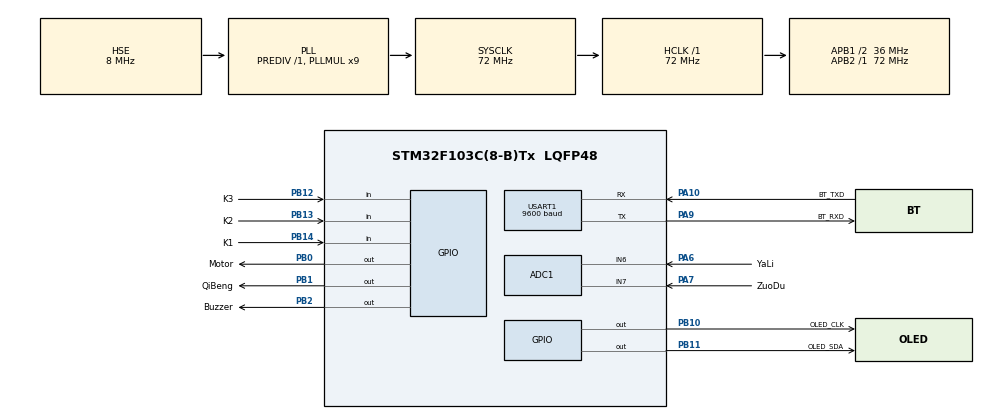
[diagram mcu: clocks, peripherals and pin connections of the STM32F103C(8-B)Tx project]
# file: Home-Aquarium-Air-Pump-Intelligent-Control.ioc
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ADC1.Channel-0\#ChannelRegularConversion=ADC_CHANNEL_6
ADC1.Channel-1\#ChannelRegularConversion=ADC_CHANNEL_7
ADC1.ContinuousConvMode=ENABLE
ADC1.NbrOfConversion=2
ADC1.NbrOfConversionFlag=1
ADC1.Rank-0\#ChannelRegularConversion=1
ADC1.Rank-1\#ChannelRegularConversion=2
ADC1.SamplingTime-0\#ChannelRegularConversion=ADC_SAMPLETIME_1CYCLE_5
ADC1.SamplingTime-1\#ChannelRegularConversion=ADC_SAMPLETIME_1CYCLE_5
ADC1.master=1
Dma.ADC1.0.Direction=DMA_PERIPH_TO_MEMORY
Dma.ADC1.0.Instance=DMA1_Channel1
Dma.ADC1.0.MemDataAlignment=DMA_MDATAALIGN_HALFWORD
Dma.ADC1.0.MemInc=DMA_MINC_ENABLE
Dma.ADC1.0.Mode=DMA_CIRCULAR
Dma.ADC1.0.PeriphDataAlignment=DMA_PDATAALIGN_HALFWORD
Dma.ADC1.0.PeriphInc=DMA_PINC_DISABLE
Dma.ADC1.0.Priority=DMA_PRIORITY_LOW
Dma.Request0=ADC1
Mcu.Family=STM32F1
Mcu.Name=STM32F103C(8-B)Tx
Mcu.Package=LQFP48
NVIC.DMA1_Channel1_IRQn=true\:0\:0\:false\:false\:true\:false\:true\:true
NVIC.PriorityGroup=NVIC_PRIORITYGROUP_4
NVIC.TIM2_IRQn=true\:0\:0\:false\:false\:true\:true\:true\:true
NVIC.TIM3_IRQn=true\:0\:0\:false\:false\:true\:true\:true\:true
PA10.GPIO_Label=BT_TXD
PA10.Mode=Asynchronous
PA10.Signal=USART1_RX
PA13.GPIO_Label=SWDIO
PA13.Mode=Serial_Wire
PA13.Signal=SYS_JTMS-SWDIO
PA14.GPIO_Label=SWCLK
PA14.Mode=Serial_Wire
PA14.Signal=SYS_JTCK-SWCLK
PA6.GPIO_Label=YaLi
PA6.Signal=ADCx_IN6
PA7.GPIO_Label=ZuoDu
PA7.Signal=ADCx_IN7
PA9.GPIO_Label=BT_RXD
PA9.Mode=Asynchronous
PA9.Signal=USART1_TX
PB0.GPIO_Label=Motor
PB0.Signal=GPIO_Output
PB1.GPIO_Label=QiBeng
PB1.Signal=GPIO_Output
PB10.GPIO_Label=OLED_CLK
PB10.Signal=GPIO_Output
PB11.GPIO_Label=OLED_SDA
PB11.Signal=GPIO_Output
PB12.GPIO_Label=K3
PB12.Signal=GPIO_Input
PB13.GPIO_Label=K2
PB13.Signal=GPIO_Input
PB14.GPIO_Label=K1
PB14.Signal=GPIO_Input
PB2.GPIO_Label=Buzzer
PB2.Signal=GPIO_Output
PC14-OSC32_IN.GPIO_Label=C32_768I
PC14-OSC32_IN.Mode=LSE-External-Oscillator
PC14-OSC32_IN.Signal=RCC_OSC32_IN
PC15-OSC32_OUT.GPIO_Label=C32_768O
PC15-OSC32_OUT.Mode=LSE-External-Oscillator
PC15-OSC32_OUT.Signal=RCC_OSC32_OUT
PD0-OSC_IN.GPIO_Label=C8I
PD0-OSC_IN.Mode=HSE-External-Oscillator
PD0-OSC_IN.Signal=RCC_OSC_IN
PD1-OSC_OUT.GPIO_Label=C8O
PD1-OSC_OUT.Mode=HSE-External-Oscillator
PD1-OSC_OUT.Signal=RCC_OSC_OUT
ProjectManager.HeapSize=0x200
ProjectManager.StackSize=0x400
ProjectManager.TargetToolchain=MDK-ARM V5.32
RCC.ADCPresc=RCC_ADCPCLK2_DIV6
RCC.AHBFreq_Value=72000000
RCC.APB1CLKDivider=RCC_HCLK_DIV2
RCC.APB1Freq_Value=36000000
RCC.APB1TimFreq_Value=72000000
RCC.APB2Freq_Value=72000000
RCC.APB2TimFreq_Value=72000000
RCC.HCLKFreq_Value=72000000
RCC.PLLMUL=RCC_PLL_MUL9
RCC.PLLSourceVirtual=RCC_PLLSOURCE_HSE
RCC.SYSCLKFreq_VALUE=72000000
RCC.SYSCLKSource=RCC_SYSCLKSOURCE_PLLCLK
RCC.USBFreq_Value=72000000
RTC.Format=RTC_FORMAT_BIN
SH.ADCx_IN6.0=ADC1_IN6,IN6
SH.ADCx_IN7.0=ADC1_IN7,IN7
TIM2.Period=1000-1
TIM2.Prescaler=72-1
TIM3.AutoReloadPreload=TIM_AUTORELOAD_PRELOAD_ENABLE
TIM3.Period=1000
TIM3.Prescaler=71
USART1.BaudRate=9600
USART1.VirtualMode=VM_ASYNC
VP_RTC_VS_RTC_Activate.Mode=RTC_Enabled
VP_TIM2_VS_ClockSourceINT.Mode=Internal
VP_TIM3_VS_ClockSourceINT.Mode=Internal
board=custom

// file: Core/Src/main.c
/* USER CODE BEGIN Header */
/**
  ******************************************************************************
  * @file           : main.c
  * @brief          : Main program body
  ******************************************************************************
  * @attention
  *
  * Copyright (c) 2026 STMicroelectronics.
  * All rights reserved.
  *
  * This software is licensed under terms that can be found in the LICENSE file
  * in the root directory of this software component.
  * If no LICENSE file comes with this software, it is provided AS-IS.
  *
  ******************************************************************************
  */
/* USER CODE END Header */
#include "main.h"
#include "adc.h"
#include "dma.h"
#include "rtc.h"
#include "tim.h"
#include "usart.h"
#include "gpio.h"

/* USER CODE BEGIN Includes */
#include "OLED.h"
#include "Key.h"
#include <stdarg.h>
#include <stdio.h>
#include <string.h>
/* USER CODE END Includes */

/* USER CODE BEGIN PTD */
typedef enum{
  AirPump_Low = 0,
  AirPump_Med,
  AirPump_High,
}AirPumpLevel;
typedef enum{
  UI_Main = 0,
  UI_ADC,
  UI_Level,
  UI_RTC,
  UI_Tiemr_Motor,
  UI_Tiemr_AirPump
}UIIndex_;
/* USER CODE END PTD */

/* USER CODE BEGIN PD */
#define RUN_MODE 1  // 1 debug 0 normal
#define TIMER_AIR_PUMP_CHANNEL_MAX 3
#define UI_INDEX_MAX (UI_Tiemr_AirPump + TIMER_AIR_PUMP_CHANNEL_MAX)
#define ADC_MAX_NUM 2*3

#define BT_COMUNITCATION_AIR_PUMP_WORK_STATUE_SIGN 0x01
#define BT_COMUNITCATION_AIR_PUMP_ERROR_CODE_SIGN 0x02
/* USER CODE END PD */

/* USER CODE BEGIN PV */
RTC_TimeTypeDef nTime;

uint16_t ADC_Value[ADC_MAX_NUM] = {0};

uint32_t Timer2CounterTick = 0;

uint32_t TimerMotorTick_s_End = 0;
uint32_t TimerMotorTick_s = 0;
uint32_t TimerMotorTick_s_Run = 0;

uint32_t TimerAirPumpTick_s_End[TIMER_AIR_PUMP_CHANNEL_MAX] = {0};
uint32_t TimerAirPumpTick_s[TIMER_AIR_PUMP_CHANNEL_MAX] = {0};
uint32_t TimerAirPumpTick_s_Run[TIMER_AIR_PUMP_CHANNEL_MAX] = {0};

char PrintfString[2][128];
uint32_t Timer2Tick = 0;
uint32_t Timer2Tick_F = 0;

uint32_t Timer2TickAuto[TIMER_AIR_PUMP_CHANNEL_MAX] = {0};
uint32_t Timer2TickAuto_F[TIMER_AIR_PUMP_CHANNEL_MAX] = {0};

uint32_t Timer3Tick = 0;
uint16_t UILevelCloseTick = 0;
AirPumpLevel apl = AirPump_Low;
uint8_t UiIndex = UI_Main;
uint8_t MenuLevel = 0;
uint8_t TimerMotor[3] = { 0 };
uint8_t TimerAirPump[TIMER_AIR_PUMP_CHANNEL_MAX][4] = { 0 };
uint8_t TimerMotorIndex = 0;
uint8_t TimerAirPumpIndex = 0;
uint8_t TimerAirPumpAutoRun[TIMER_AIR_PUMP_CHANNEL_MAX] = { 0 };
uint8_t TimerAirPumpAutoRunTask[TIMER_AIR_PUMP_CHANNEL_MAX] = { 0 };
uint8_t TimerAirPumpManuallyFlag = 0;
uint8_t TimerAirPumpChannel = 0;

uint16_t ZuoDuAdcValue = 0;
float ZuoDuValue = 0.0;

uint8_t AirPumpErrorCode = 0;
/* USER CODE END PV */

void SystemClock_Config(void);
/* USER CODE BEGIN PFP */
void PrintfGunDong(char *format, ...);
char* GetAirPumpLevelStr(void);
/* USER CODE END PFP */

int main(void)
{

  /* MCU Configuration--------------------------------------------------------*/

  /* Reset of all peripherals, Initializes the Flash interface and the Systick. */
  HAL_Init();

  /* Configure the system clock */
  SystemClock_Config();

  /* Initialize all configured peripherals */
  MX_GPIO_Init();
  MX_DMA_Init();
  MX_ADC1_Init();
  MX_USART1_UART_Init();
  MX_TIM3_Init();
  MX_TIM2_Init();
  MX_RTC_Init();
  /* USER CODE BEGIN 2 */

  HAL_RTC_GetTime(&hrtc, &nTime, RTC_FORMAT_BIN);
  PrintfGunDong("Get RTC!");
  HAL_Delay(500);
  OLED_Init();
  PrintfGunDong("Display ok!");
  HAL_Delay(500);
  HAL_GPIO_WritePin(Buzzer_GPIO_Port, Buzzer_Pin, GPIO_PIN_SET);
  PrintfGunDong("Buzzer close!");
  HAL_Delay(500);
  HAL_GPIO_WritePin(Motor_GPIO_Port, Motor_Pin, GPIO_PIN_SET);
  PrintfGunDong("Motor close!");
  HAL_Delay(500);
  HAL_GPIO_WritePin(QiBeng_GPIO_Port, QiBeng_Pin, GPIO_PIN_SET);
  PrintfGunDong("QiBeng close!");
  HAL_Delay(500);
  HAL_TIM_Base_Start_IT(&htim2);
  PrintfGunDong("Star TIM2!");
  HAL_Delay(500);
  HAL_TIM_Base_Start_IT(&htim3);
  PrintfGunDong("Star TIM3!");
  HAL_Delay(500);
  HAL_ADC_Start_DMA(&hadc1, (uint32_t*)ADC_Value, ADC_MAX_NUM);

  if(apl == AirPump_Low) Timer2Tick_F = 500 * 14;
  if(apl == AirPump_Med) Timer2Tick_F = 500 * 56;
  if(apl == AirPump_High) Timer2Tick_F = 500 * 112;
  /* USER CODE END 2 */

  /* Infinite loop */
  /* USER CODE BEGIN WHILE */
  while (1)
  {
    OLED_Clear();
    if(Timer2CounterTick >= 1000){
      TimerMotorTick_s++;
      for(uint8_t i = 0;i < TIMER_AIR_PUMP_CHANNEL_MAX;i++) TimerAirPumpTick_s[i]++;
      Timer2CounterTick = 0;
    }
    HAL_RTC_GetTime(&hrtc, &nTime, RTC_FORMAT_BIN);
    ZuoDuAdcValue = 4096 - (ADC_Value[1] + ADC_Value[3] + ADC_Value[5]) / 3;
    if(Timer3Tick >= 150){
      Timer3Tick = 0;
      if(HAL_GPIO_ReadPin(K1_GPIO_Port, K1_Pin) == GPIO_PIN_SET){
        if(UiIndex == UI_Tiemr_Motor && MenuLevel == 1){
          TimerMotorIndex++;
          TimerMotorIndex %= 3;
        }
        if(UiIndex >= UI_INDEX_MAX - TIMER_AIR_PUMP_CHANNEL_MAX && MenuLevel == 1){
          TimerAirPumpIndex++;
          TimerAirPumpIndex %= 4;
        }
      }
      if(HAL_GPIO_ReadPin(K2_GPIO_Port, K2_Pin) == GPIO_PIN_SET){
        if(MenuLevel == 0) UiIndex++;
        if(MenuLevel == 1 && UiIndex == UI_Level){
          apl++;
          apl %= 3;
        }
        if(MenuLevel == 1 && UiIndex == UI_Tiemr_Motor){
          if(TimerMotorIndex == 0){
            TimerMotor[0]++;
            TimerMotor[0] %= 24;
          }
          if(TimerMotorIndex == 1 || TimerMotorIndex == 2){
            TimerMotor[TimerMotorIndex]++;
            TimerMotor[TimerMotorIndex] %= 60;
          }
          TimerMotorTick_s_End = TimerMotorTick_s + TimerMotor[0] * 3600 + TimerMotor[1] * 60 + TimerMotor[2];
        }
        if(MenuLevel == 1 && UiIndex >= UI_INDEX_MAX - TIMER_AIR_PUMP_CHANNEL_MAX){
          if(TimerAirPumpIndex == 0){
            TimerAirPump[TimerAirPumpChannel][0]++;
            TimerAirPump[TimerAirPumpChannel][0] %= 24;
          }
          if(TimerAirPumpIndex == 1 || TimerAirPumpIndex == 2){
            TimerAirPump[TimerAirPumpChannel][TimerAirPumpIndex]++;
            TimerAirPump[TimerAirPumpChannel][TimerAirPumpIndex] %= 60;
          }
          if(TimerAirPumpIndex == 3){
            TimerAirPump[TimerAirPumpChannel][TimerAirPumpIndex]++;
            TimerAirPump[TimerAirPumpChannel][TimerAirPumpIndex] %= 3;
          }
          TimerAirPumpTick_s_End[TimerAirPumpChannel] = TimerAirPumpTick_s[TimerAirPumpChannel] + TimerAirPump[TimerAirPumpChannel][0] * 3600 + TimerAirPump[TimerAirPumpChannel][1] * 60 + TimerAirPump[TimerAirPumpChannel][2];
          if(TimerAirPump[TimerAirPumpChannel][0] != 0 || TimerAirPump[TimerAirPumpChannel][1] != 0 || TimerAirPump[TimerAirPumpChannel][2] != 0) TimerAirPumpAutoRun[TimerAirPumpChannel] = 1;
          else TimerAirPumpAutoRun[TimerAirPumpChannel] = 0;
        }

        UiIndex %= UI_INDEX_MAX;
        if(UiIndex == UI_Main) TimerAirPumpChannel = 0;
        if(UiIndex > UI_INDEX_MAX - TIMER_AIR_PUMP_CHANNEL_MAX && MenuLevel == 0){
          TimerAirPumpChannel++;
          TimerAirPumpChannel %= 3;
        }
        // UiIndex = UI_Level;
        // UILevelCloseTick = 0;
        // apl++;
        // if(apl == AirPump_Open) apl = AirPump_Low;
      }
      if(HAL_GPIO_ReadPin(K3_GPIO_Port, K3_Pin) == GPIO_PIN_SET){
        if(UiIndex == UI_Main){
          HAL_GPIO_TogglePin(QiBeng_GPIO_Port, QiBeng_Pin);
          TimerAirPumpManuallyFlag = 1;
        }
        if(UiIndex != UI_Main){
          MenuLevel++;
          MenuLevel %= 2;
        }

      }
    }

    /* USER CODE END WHILE */

    /* USER CODE BEGIN 3 */
    if(UiIndex == UI_Main){
      OLED_ShowString(0, 0, "AP:", OLED_6X8);
      OLED_ShowString(18, 0, HAL_GPIO_ReadPin(QiBeng_GPIO_Port, QiBeng_Pin) ? "Close|" : "Open |", OLED_6X8);
      OLED_ShowString(54, 0, "O_2(mL)", OLED_6X8);
      OLED_ShowNum(54, 8, (Timer2Tick / 500) * 9, 7, OLED_6X8);
      // OLED_ShowNum(54, 8, Timer2TickAuto[0], 7, OLED_6X8);

      OLED_ShowString(0, 8, "WQ:", OLED_6X8);
      OLED_ShowString(18, 8, "00.00|", OLED_6X8);
      ZuoDuValue = (ZuoDuAdcValue / 4096.0) * 100.0;
      OLED_ShowFloatNum(18, 8, ZuoDuValue, 2, 2, OLED_6X8);
    }
    else if(UiIndex == UI_ADC){
      OLED_ShowString(0, 0, "YaLi:", OLED_6X8);
      OLED_ShowNum(30, 0, 4096 - (ADC_Value[0] + ADC_Value[2] + ADC_Value[4]) / 3, 4, OLED_6X8);
      OLED_ShowString(0, 8, "ZuoDu:", OLED_6X8);
      OLED_ShowNum(36, 8, ZuoDuAdcValue, 4, OLED_6X8);
    }
    else if(UiIndex == UI_Level){
      OLED_ShowString(6, 0, "Air Pump Level", OLED_6X8);
      if(MenuLevel == 1) OLED_ShowString(0, 8, ">", OLED_6X8);
      OLED_ShowString(27, 8, GetAirPumpLevelStr(), OLED_6X8);

      if(apl == AirPump_Low) Timer2Tick_F = 500 * 14;
      if(apl == AirPump_Med) Timer2Tick_F = 500 * 56;
      if(apl == AirPump_High) Timer2Tick_F = 500 * 112;
    }
    else if(UiIndex == UI_RTC){
      OLED_ShowString(39, 0, "RTC", OLED_6X8);
      OLED_ShowString(24, 8, "00:00:00", OLED_6X8);
      OLED_ShowNum(24, 8, nTime.Hours, 2, OLED_6X8);
      OLED_ShowNum(42, 8, nTime.Minutes, 2, OLED_6X8);
      OLED_ShowNum(60, 8, nTime.Seconds, 2, OLED_6X8);
    }
    else if(UiIndex == UI_Tiemr_Motor){
      OLED_ShowString(18, 0, "Timer Wash", OLED_6X8);
      if(MenuLevel == 1) OLED_ShowString(0, 8, ">", OLED_6X8);
      OLED_ShowString(24, 8, "00:00:00", OLED_6X8);
      OLED_ShowNum(24, 8, TimerMotor[0], 2, OLED_6X8);
      OLED_ShowNum(42, 8, TimerMotor[1], 2, OLED_6X8);
      OLED_ShowNum(60, 8, TimerMotor[2], 2, OLED_6X8);

      if(TimerMotorIndex == 0 && TimerMotorTick_s % 2) OLED_ShowString(24, 8, "  ", OLED_6X8);
      if(TimerMotorIndex == 1 && TimerMotorTick_s % 2) OLED_ShowString(42, 8, "  ", OLED_6X8);
      if(TimerMotorIndex == 2 && TimerMotorTick_s % 2) OLED_ShowString(60, 8, "  ", OLED_6X8);
    }
    else if(UiIndex >= UI_Tiemr_AirPump && UiIndex <= UI_INDEX_MAX){
      OLED_ShowString(0, 0, "Timer AirPump   ", OLED_6X8);
      OLED_ShowString(0, 8, "CH-99 | 00:00:00", OLED_6X8);
      if(MenuLevel == 1) OLED_ShowString(36, 8, ">", OLED_6X8);
      OLED_ShowNum(18, 8, TimerAirPumpChannel, 2, OLED_6X8);
      OLED_ShowNum(48, 8, TimerAirPump[TimerAirPumpChannel][0], 2, OLED_6X8);
      OLED_ShowNum(66, 8, TimerAirPump[TimerAirPumpChannel][1], 2, OLED_6X8);
      OLED_ShowNum(84, 8, TimerAirPump[TimerAirPumpChannel][2], 2, OLED_6X8);
      if(TimerAirPump[TimerAirPumpChannel][3] == 0) OLED_ShowString(84, 0, "L", OLED_6X8);
      if(TimerAirPump[TimerAirPumpChannel][3] == 1) OLED_ShowString(84, 0, "M", OLED_6X8);
      if(TimerAirPump[TimerAirPumpChannel][3] == 2) OLED_ShowString(84, 0, "H", OLED_6X8);

      if(TimerAirPumpIndex == 0 && TimerMotorTick_s % 2) OLED_ShowString(48, 8, "  ", OLED_6X8);
      if(TimerAirPumpIndex == 1 && TimerMotorTick_s % 2) OLED_ShowString(66, 8, "  ", OLED_6X8);
      if(TimerAirPumpIndex == 2 && TimerMotorTick_s % 2) OLED_ShowString(84, 8, "  ", OLED_6X8);
      if(TimerAirPumpIndex == 3 && TimerMotorTick_s % 2) OLED_ShowString(84, 0, "  ", OLED_6X8);
    }
    else OLED_ShowString(0, 0, ">No UI Data", OLED_8X16);

    //500ms -> 9mL
    if(HAL_GPIO_ReadPin(QiBeng_GPIO_Port, QiBeng_Pin) == GPIO_PIN_RESET && Timer2Tick >= Timer2Tick_F && TimerAirPumpManuallyFlag){
      Timer2Tick = 0;

      HAL_GPIO_WritePin(QiBeng_GPIO_Port, QiBeng_Pin, GPIO_PIN_SET);
    }
    if(HAL_GPIO_ReadPin(QiBeng_GPIO_Port, QiBeng_Pin)) Timer2Tick = 0;

    if(TimerMotorTick_s == TimerMotorTick_s_End && TimerMotorTick_s_End != 0){
      if(UiIndex != UI_Tiemr_Motor) {
        HAL_GPIO_WritePin(Motor_GPIO_Port, Motor_Pin, GPIO_PIN_RESET);
        TimerMotorTick_s_Run = TimerMotorTick_s + 5;
      }
    }
    if(TimerMotorTick_s == TimerMotorTick_s_Run){
      HAL_GPIO_WritePin(Motor_GPIO_Port, Motor_Pin, GPIO_PIN_SET);
      TimerMotorTick_s_End = TimerMotorTick_s + TimerMotor[0] * 3600 + TimerMotor[1] * 60 + TimerMotor[2];
    }

    for(uint8_t i = 0;i < TIMER_AIR_PUMP_CHANNEL_MAX;i++){
      if(nTime.Hours == TimerAirPump[i][0] && nTime.Minutes == TimerAirPump[i][1] && nTime.Seconds == TimerAirPump[i][2] && TimerAirPumpManuallyFlag == 0){
        if(UiIndex <= UI_Tiemr_Motor) {
          if(TimerAirPump[i][3] == AirPump_Low) Timer2TickAuto_F[i] = 500 * 14;
          if(TimerAirPump[i][3] == AirPump_Med) Timer2TickAuto_F[i] = 500 * 56;
          if(TimerAirPump[i][3] == AirPump_High) Timer2TickAuto_F[i] = 500 * 112;
          // HAL_GPIO_WritePin(QiBeng_GPIO_Port, QiBeng_Pin, GPIO_PIN_RESET);
          TimerAirPumpAutoRunTask[i] = 1;
          Timer2TickAuto[i] = 0;
        }
      }
      if(HAL_GPIO_ReadPin(QiBeng_GPIO_Port, QiBeng_Pin) == GPIO_PIN_RESET && Timer2TickAuto[i] >= Timer2TickAuto_F[i] && TimerAirPumpManuallyFlag == 0){
        Timer2TickAuto[i] = 0;

        HAL_GPIO_WritePin(QiBeng_GPIO_Port, QiBeng_Pin, GPIO_PIN_SET);
        TimerAirPumpAutoRunTask[i] = 0;
      }
      // if(HAL_GPIO_ReadPin(QiBeng_GPIO_Port, QiBeng_Pin))
    }
    for(uint8_t i = 0;i < TIMER_AIR_PUMP_CHANNEL_MAX;i++){
      if(TimerAirPumpAutoRunTask[i]){
        HAL_GPIO_WritePin(QiBeng_GPIO_Port, QiBeng_Pin, GPIO_PIN_RESET);
        break;
      }
    }
    if((4096 - (ADC_Value[0] + ADC_Value[2] + ADC_Value[4]) / 3) >= 1024) AirPumpErrorCode = 1;
    else AirPumpErrorCode = 0;
    if(ZuoDuAdcValue >= 2048) HAL_GPIO_WritePin(Buzzer_GPIO_Port, Buzzer_Pin, GPIO_PIN_RESET);
    else HAL_GPIO_WritePin(Buzzer_GPIO_Port, Buzzer_Pin, GPIO_PIN_SET);

    printf("[BT-%02X]:%s\r\n", BT_COMUNITCATION_AIR_PUMP_WORK_STATUE_SIGN, HAL_GPIO_ReadPin(QiBeng_GPIO_Port, QiBeng_Pin) ? "Close" : "Open ");
    printf("[BT-%02X]:%s\r\n", BT_COMUNITCATION_AIR_PUMP_ERROR_CODE_SIGN, AirPumpErrorCode ? "Error" : "Ok");

    OLED_Update();
  }
  /* USER CODE END 3 */
}

void SystemClock_Config(void)
{
  RCC_OscInitTypeDef RCC_OscInitStruct = {0};
  RCC_ClkInitTypeDef RCC_ClkInitStruct = {0};
  RCC_PeriphCLKInitTypeDef PeriphClkInit = {0};

  /** Initializes the RCC Oscillators according to the specified parameters
  * in the RCC_OscInitTypeDef structure.
  */
  RCC_OscInitStruct.OscillatorType = RCC_OSCILLATORTYPE_LSI|RCC_OSCILLATORTYPE_HSE;
  RCC_OscInitStruct.HSEState = RCC_HSE_ON;
  RCC_OscInitStruct.HSEPredivValue = RCC_HSE_PREDIV_DIV1;
  RCC_OscInitStruct.HSIState = RCC_HSI_ON;
  RCC_OscInitStruct.LSIState = RCC_LSI_ON;
  RCC_OscInitStruct.PLL.PLLState = RCC_PLL_ON;
  RCC_OscInitStruct.PLL.PLLSource = RCC_PLLSOURCE_HSE;
  RCC_OscInitStruct.PLL.PLLMUL = RCC_PLL_MUL9;
  if (HAL_RCC_OscConfig(&RCC_OscInitStruct) != HAL_OK)
  {
    Error_Handler();
  }

  /** Initializes the CPU, AHB and APB buses clocks
  */
  RCC_ClkInitStruct.ClockType = RCC_CLOCKTYPE_HCLK|RCC_CLOCKTYPE_SYSCLK
                              |RCC_CLOCKTYPE_PCLK1|RCC_CLOCKTYPE_PCLK2;
  RCC_ClkInitStruct.SYSCLKSource = RCC_SYSCLKSOURCE_PLLCLK;
  RCC_ClkInitStruct.AHBCLKDivider = RCC_SYSCLK_DIV1;
  RCC_ClkInitStruct.APB1CLKDivider = RCC_HCLK_DIV2;
  RCC_ClkInitStruct.APB2CLKDivider = RCC_HCLK_DIV1;

  if (HAL_RCC_ClockConfig(&RCC_ClkInitStruct, FLASH_LATENCY_2) != HAL_OK)
  {
    Error_Handler();
  }
  PeriphClkInit.PeriphClockSelection = RCC_PERIPHCLK_RTC|RCC_PERIPHCLK_ADC;
  PeriphClkInit.RTCClockSelection = RCC_RTCCLKSOURCE_LSI;
  PeriphClkInit.AdcClockSelection = RCC_ADCPCLK2_DIV6;
  if (HAL_RCCEx_PeriphCLKConfig(&PeriphClkInit) != HAL_OK)
  {
    Error_Handler();
  }
}

/* USER CODE BEGIN 4 */
void PrintfGunDong(char *format, ...){

    va_list arg;
    va_start(arg, format);
    strcpy(PrintfString[0], (const char*)PrintfString[1]);
    vsprintf(PrintfString[1], format, arg);
    va_end(arg);
    OLED_Clear();
    OLED_ShowString(0, 0, PrintfString[0], OLED_6X8);
    OLED_ShowString(0, 8, PrintfString[1], OLED_6X8);
    OLED_Update();
    printf("%s\r\n", PrintfString[1]);
}

char* GetAirPumpLevelStr(void){
  if(apl == AirPump_Low) return "  Low  ";
  else if(apl == AirPump_Med) return "Medium ";
  else return "  High ";
}

void HAL_TIM_PeriodElapsedCallback(TIM_HandleTypeDef *htim) {
  if (htim->Instance == TIM2) { // �ж��Ƿ�Ϊ TIM2 ���ж�
    Timer2Tick++;
    UILevelCloseTick++;
    Timer2CounterTick++;
    for(uint8_t i = 0;i < TIMER_AIR_PUMP_CHANNEL_MAX;i++) Timer2TickAuto[i]++;
  }
  if (htim->Instance == TIM3) { // �ж��Ƿ�Ϊ TIM3 ���ж�
    Timer3Tick++;

  }
}

int fputc(int ch, FILE *f){
  HAL_UART_Transmit(&huart1, (uint8_t *)&ch, 1, HAL_MAX_DELAY);
  return ch;
}

/* USER CODE END 4 */

void Error_Handler(void)
{
  __disable_irq();
  while (1)
  {
  }
}
